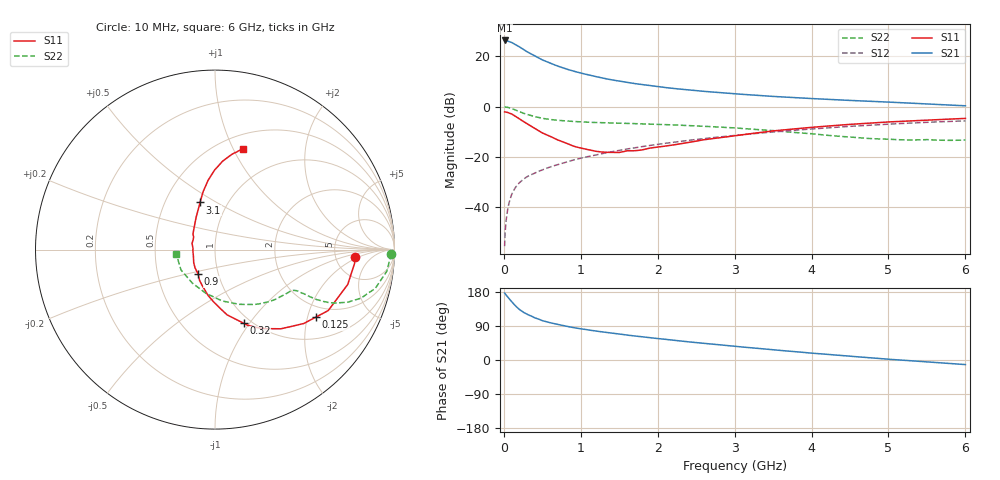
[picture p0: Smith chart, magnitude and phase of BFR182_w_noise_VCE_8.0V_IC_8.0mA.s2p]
! Infineon Technologies  Discrete & RF Semiconductors
! BFR182
! VCE =  8.0 V,  IC =  8.0 mA
! Common Emitter S-Parameters:  Nov 2015
# GHz  S  MA  R  50
!  f  S11  S21  S12  S22
! GHz  MAG  ANG  MAG  ANG  MAG  ANG  MAG  ANG
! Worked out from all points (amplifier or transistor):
!   210 points, 10 MHz to 6 GHz, reference 50 ohm
!   highest |S21| = 26.2 dB at 10 MHz (marker M1)
!   |S21| within 3 dB of that: start of sweep to 226.1 MHz
!   unconditionally stable (mu >= 1): 925.1 MHz to 2.84 GHz
!   at 185 MHz: K = 0.44, MSG = 27.4 dB, |S12| = -30.8 dB
!   at 1.52 GHz: K = 1.05, MAG = 12.3 dB, |S12| = -17.3 dB
!   at 6 GHz: K = 0.89, MSG = 3.0 dB, |S12| = -5.7 dB
!   lowest NFmin = 1.40 dB at 450 MHz
!   S11 on the Smith chart (normalised r, x): 10 MHz: 7.84, -1.60; 125 MHz: 1.63, -2.26; 320 MHz: 0.92, -0.94; 900 MHz: 0.80, -0.22; 3.1 GHz: 0.74, +0.42; 6 GHz: 0.64, +1.09
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0.01  0.7819 -2.9  20.47 176.7  0.0017 88.5  0.9834 -1.4
0.02  0.7814 -5.7  19.99 173.9  0.0037 89.5  0.9762 -2.9
0.05  0.7646 -14.7  19.95 166.2  0.0091 82.2  0.9649 -7.2
0.1  0.7166 -28.3  18.78 154.1  0.0178 76.5  0.9186 -13.6
0.125  0.6766 -33.7  17.79 148.7  0.0212 73.9  0.8871 -15.9
0.15  0.6434 -39.8  16.97 142.7  0.0247 72.1  0.8572 -18.4
0.2  0.5743 -50.2  15.39 133.8  0.0306 68.7  0.7957 -21.6
0.26  0.4997 -60.8  13.42 125.3  0.0366 65.8  0.7324 -24.0
0.3  0.4599 -66.6  12.26 120.6  0.0404 65.7  0.6994 -25.0
0.32  0.4403 -68.7  11.81 119.0  0.0419 65.5  0.6859 -25.2
0.4  0.3697 -79.5  10.12 111.5  0.0478 65.0  0.632 -26.2
0.5  0.3 -90.0  8.436 103.9  0.0554 65.0  0.5838 -26.4
0.6  0.2574 -98.8  7.254 98.4  0.0632 65.1  0.5541 -26.4
0.7  0.218 -108.0  6.353 93.6  0.0706 65.4  0.5339 -26.6
0.9  0.1651 -124.8  5.063 85.6  0.0867 66.1  0.5065 -26.8
1.02  0.148 -139.6  4.54 81.7  0.096 66.4  0.4948 -27.3
1.4  0.1239 -177.5  3.386 71.1  0.1264 65.7  0.4731 -30.4
2.02  0.1585 139.1  2.462 56.2  0.1797 62.4  0.4424 -37.7
3.1  0.2756 107.6  1.748 34.3  0.2763 53.4  0.3672 -56.3
4.1  0.3979 94.6  1.416 16.6  0.368 43.1  0.2787 -85.4
5.1  0.5034 83.9  1.206 0.7  0.4559 31.3  0.221 -129.0
6  0.582 74.6  1.036 -12.1  0.5193 19.1  0.2169 -173.5
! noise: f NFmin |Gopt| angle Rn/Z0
0.45  1.4  0.26  41  0.29
0.9  1.5  0.25  83  0.23
1.8  2  0.21  162  0.2
